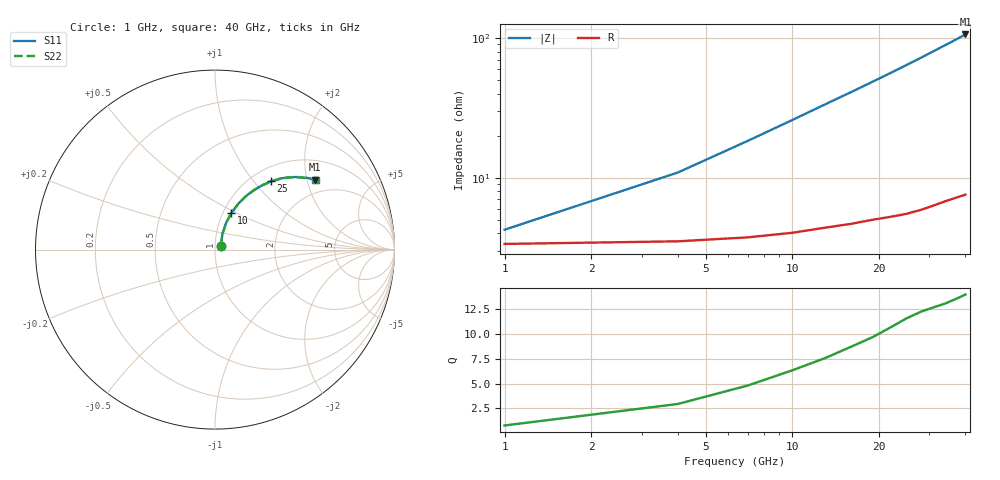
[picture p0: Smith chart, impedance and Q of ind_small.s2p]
! Generated by circuitRF - EM: Full-wave planar
! circuitRF-EM setup: ind_small
! circuitRF-EM layout: IND_SMALL/layout/IND_SMALL.clay
! circuitRF-EM written: 2026-11-14 18:39:29Z
! circuitRF-EM stamp: 20261114T183929Z-ed07a30c
! circuitRF-EM geometry: baf0844368c6d0da
! circuitRF-EM mesh: 099879cdb6ab51d1
! circuitRF-EM ports: 6c95780363f39ef7
! circuitRF-EM model: grounded-edge-port-2026-10-14
! Port[1] = 1
! Port[2] = 2
! circuitRF-EM port 1: '1' on 'TopMetal1' at (-3.05, -1 um), edge, uncalibrated (not de-embedded), 50 Ohm
! circuitRF-EM port 2: '2' on 'TopMetal1' at (3.05, -1 um), edge, uncalibrated (not de-embedded), 50 Ohm
! circuitRF-EM: port N of this file is the label named on the 'port N' line above. A circuit that composes this result binds its nets in that order; two ports of a reciprocal part swapped gives a plausible curve of a different structure.
! circuitRF-EM caveat: 3 of these rows are NOT A PASSIVE NETWORK and should not be used: 34 GHz to 40 GHz, worst sigma_max(S) = 1.0035. A passive structure cannot exceed 1, so the excess is this analysis rather than the design. The de-embedding reports no error floor on this sweep, so it is not the 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
! circuitRF-EM: re-running the EM setup rewrites this file. If circuitRF reports it as stale, the layout's cross-section changed after this file was written.
# GHz S RI R 50
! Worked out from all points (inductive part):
!   14 points, 1 GHz to 40 GHz, reference 50 ohm
!   read as one part in series: L = 407 pH near 7 GHz
!   highest Q = 14 at 40 GHz (marker M1), where L = 421 pH
!   S11 on the Smith chart (normalised r, x): 1 GHz: 1.07, +0.05; 10 GHz: 1.09, +0.47; 25 GHz: 1.23, +1.23; 40 GHz: 1.54, +2.25
1  0.0324 0.0215  0.9663 -0.027  0.9663 -0.027  0.0324 0.0216
4  0.0415 0.0875  0.9548 -0.103  0.9548 -0.103  0.0416 0.0876
7  0.0622 0.1494  0.9336 -0.175  0.9336 -0.175  0.0624 0.1495
10  0.0917 0.2054  0.9034 -0.2414  0.9034 -0.2414  0.0922 0.2055
13  0.1288 0.2547  0.8656 -0.3013  0.8656 -0.3013  0.1295 0.2547
16  0.1699 0.2962  0.8233 -0.3534  0.8233 -0.3534  0.1709 0.2961
19  0.2152 0.3307  0.7762 -0.3982  0.7762 -0.3982  0.2165 0.3303
22  0.2627 0.3587  0.7263 -0.4358  0.7263 -0.4358  0.2643 0.3581
25  0.3119 0.3805  0.6751 -0.4651  0.6751 -0.4651  0.3137 0.3796
28  0.3633 0.396  0.6251 -0.4872  0.6251 -0.4872  0.3653 0.3947
31  0.4156 0.4037  0.5761 -0.505  0.5761 -0.505  0.418 0.4021
34  0.4659 0.4042  0.5274 -0.5184  0.5274 -0.5184  0.4688 0.4022
37  0.5137 0.3996  0.4794 -0.5269  0.4794 -0.5269  0.517 0.397
40  0.5589 0.3905  0.4328 -0.5305  0.4328 -0.5305  0.5625 0.3873
